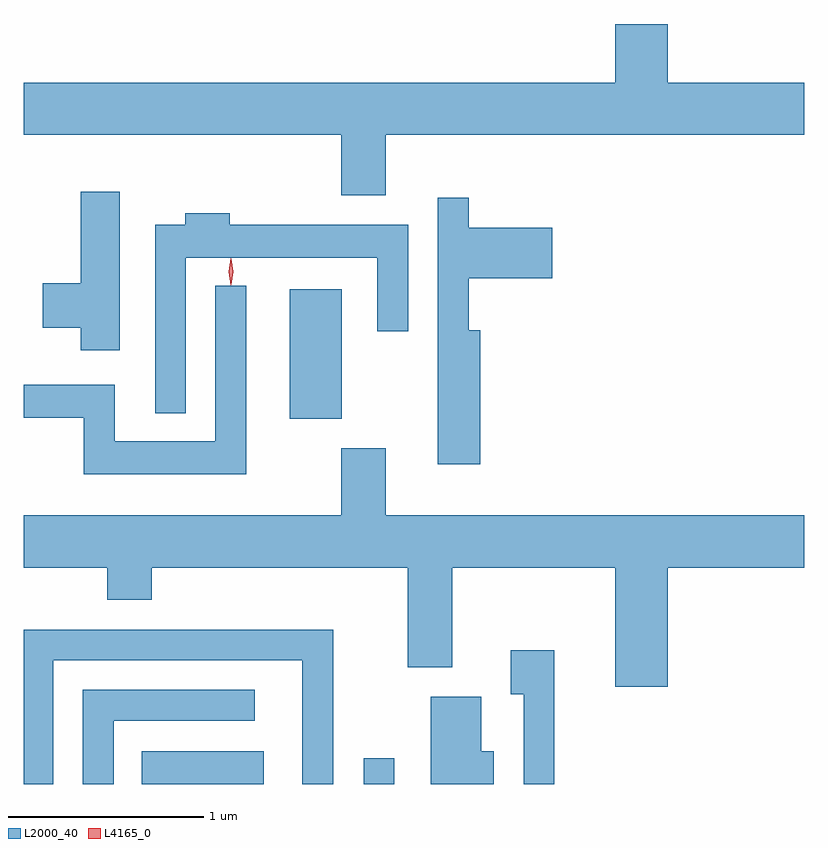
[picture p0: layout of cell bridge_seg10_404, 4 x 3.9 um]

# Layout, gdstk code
import gdstk
lib = gdstk.Library(unit=1e-6, precision=1e-09)
def R(c, l, rs):  # rectangles x0, y0, x1, y1
    for r in rs: c.add(gdstk.rectangle(r[:2], r[2:], *l))
def P(c, l, *ps):  # polygons
    for p in ps: c.add(gdstk.Polygon(p, *l))
L2000_40 = (2000, 40)
L4165_0 = (4165, 0)

bridge_seg10_404 = lib.new_cell('bridge_seg10_404')
R(bridge_seg10_404, L2000_40, [(1371.488,2090.607,1372.114,2090.774), (1372.626,2090.607,1372.784,2090.738), (1372.246,2092.481,1372.514,2093.144)])
P(bridge_seg10_404, L2000_40, [(1372.739,2093.936),(1374.884,2093.936),(1374.884,2094.204),(1374.184,2094.204),(1374.184,2094.504),(1373.916,2094.504),(1373.916,2094.204),(1370.884,2094.204),(1370.884,2093.936),(1372.511,2093.936),(1372.511,2093.626),(1372.739,2093.626)],
  [(1371.374,2093.644),(1371.176,2093.644),(1371.176,2093.174),(1370.981,2093.174),(1370.981,2092.946),(1371.176,2092.946),(1371.176,2092.831),(1371.374,2092.831)],
  [(1373.224,2092.934),(1373.164,2092.934),(1373.164,2093.201),(1373.594,2093.201),(1373.594,2093.459),(1373.164,2093.459),(1373.164,2093.613),(1373.006,2093.613),(1373.006,2092.246),(1373.224,2092.246)],
  [(1371.714,2093.306),(1372.696,2093.306),(1372.696,2092.928),(1372.854,2092.928),(1372.854,2093.474),(1371.939,2093.474),(1371.939,2093.534),(1371.711,2093.534),(1371.711,2093.474),(1371.556,2093.474),(1371.556,2092.508),(1371.714,2092.508)],
  [(1372.024,2093.163),(1371.866,2093.163),(1371.866,2092.364),(1371.349,2092.364),(1371.349,2092.654),(1370.884,2092.654),(1370.884,2092.486),(1371.191,2092.486),(1371.191,2092.196),(1372.024,2092.196)],
  [(1374.184,2091.716),(1374.884,2091.716),(1374.884,2091.984),(1372.739,2091.984),(1372.739,2092.329),(1372.511,2092.329),(1372.511,2091.984),(1370.884,2091.984),(1370.884,2091.716),(1371.311,2091.716),(1371.311,2091.551),(1371.539,2091.551),(1371.539,2091.716),(1372.851,2091.716),(1372.851,2091.206),(1373.079,2091.206),(1373.079,2091.716),(1373.916,2091.716),(1373.916,2091.106),(1374.184,2091.106)],
  [(1371.034,2091.241),(1372.311,2091.241),(1372.311,2090.607),(1372.469,2090.607),(1372.469,2091.399),(1370.884,2091.399),(1370.884,2090.607),(1371.034,2090.607)],
  [(1373.604,2091.294),(1373.381,2091.294),(1373.381,2091.066),(1373.446,2091.066),(1373.446,2090.607),(1373.604,2090.607)],
  [(1371.344,2090.931),(1372.068,2090.931),(1372.068,2091.089),(1371.186,2091.089),(1371.186,2090.607),(1371.344,2090.607)],
  [(1373.294,2090.774),(1373.229,2090.774),(1373.229,2091.054),(1372.971,2091.054),(1372.971,2090.607),(1373.294,2090.607)])
P(bridge_seg10_404, L4165_0, [(1371.944,2093.164),(1371.944,2093.164),(1371.934,2093.233),(1371.944,2093.303),(1371.944,2093.303),(1371.945,2093.303),(1371.954,2093.233),(1371.945,2093.164)],
  [(1371.945,2093.167),(1371.936,2093.234),(1371.945,2093.3),(1371.945,2093.3),(1371.946,2093.3),(1371.956,2093.234),(1371.946,2093.167),(1371.946,2093.167)])

lib.write_gds('bridge_seg10_404.gds')
